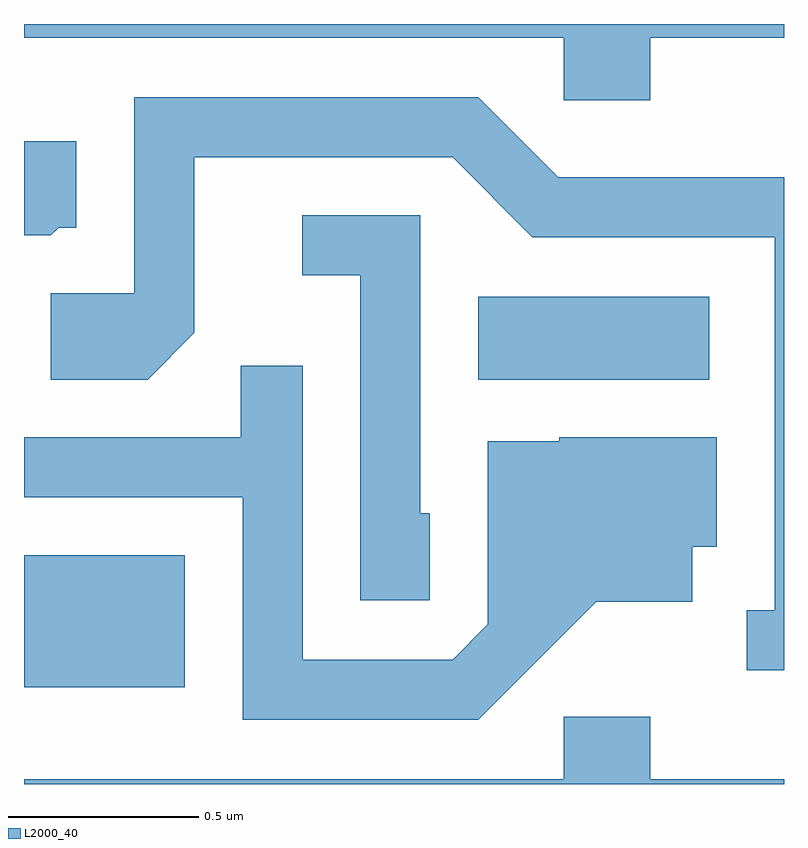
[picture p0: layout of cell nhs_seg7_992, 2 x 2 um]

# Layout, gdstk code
import gdstk
lib = gdstk.Library(unit=1e-6, precision=1e-09)
def R(c, l, rs):  # rectangles x0, y0, x1, y1
    for r in rs: c.add(gdstk.rectangle(r[:2], r[2:], *l))
def P(c, l, *ps):  # polygons
    for p in ps: c.add(gdstk.Polygon(p, *l))
L2000_40 = (2000, 40)

nhs_seg7_992 = lib.new_cell('nhs_seg7_992')
R(nhs_seg7_992, L2000_40, [(192.611,1701.506,193.034,1701.854), (193.806,1702.316,194.414,1702.534)])
P(nhs_seg7_992, L2000_40, [(194.259,1703.216),(194.611,1703.216),(194.611,1703.252),(192.611,1703.252),(192.611,1703.216),(194.031,1703.216),(194.031,1703.051),(194.259,1703.051)],
  [(194.611,1702.849),(194.017,1702.849),(193.807,1703.059),(192.901,1703.059),(192.901,1702.544),(192.681,1702.544),(192.681,1702.316),(192.937,1702.316),(193.059,1702.439),(193.059,1702.901),(193.739,1702.901),(193.949,1702.691),(194.586,1702.691),(194.586,1701.709),(194.513,1701.709),(194.513,1701.551),(194.611,1701.551)],
  [(192.702,1702.716),(192.749,1702.716),(192.749,1702.944),(192.611,1702.944),(192.611,1702.696),(192.682,1702.696)],
  [(193.679,1701.964),(193.654,1701.964),(193.654,1702.749),(193.343,1702.749),(193.343,1702.591),(193.496,1702.591),(193.496,1701.736),(193.679,1701.736)],
  [(194.117,1701.731),(194.369,1701.731),(194.369,1701.876),(194.434,1701.876),(194.434,1702.164),(194.02,1702.164),(194.02,1702.154),(193.831,1702.154),(193.831,1701.672),(193.739,1701.579),(193.344,1701.579),(193.344,1702.353),(193.181,1702.353),(193.181,1702.164),(192.611,1702.164),(192.611,1702.006),(193.186,1702.006),(193.186,1701.421),(193.807,1701.421)],
  [(194.611,1701.264),(194.259,1701.264),(194.259,1701.429),(194.031,1701.429),(194.031,1701.264),(192.611,1701.264),(192.611,1701.252),(194.611,1701.252)])

lib.write_gds('nhs_seg7_992.gds')
